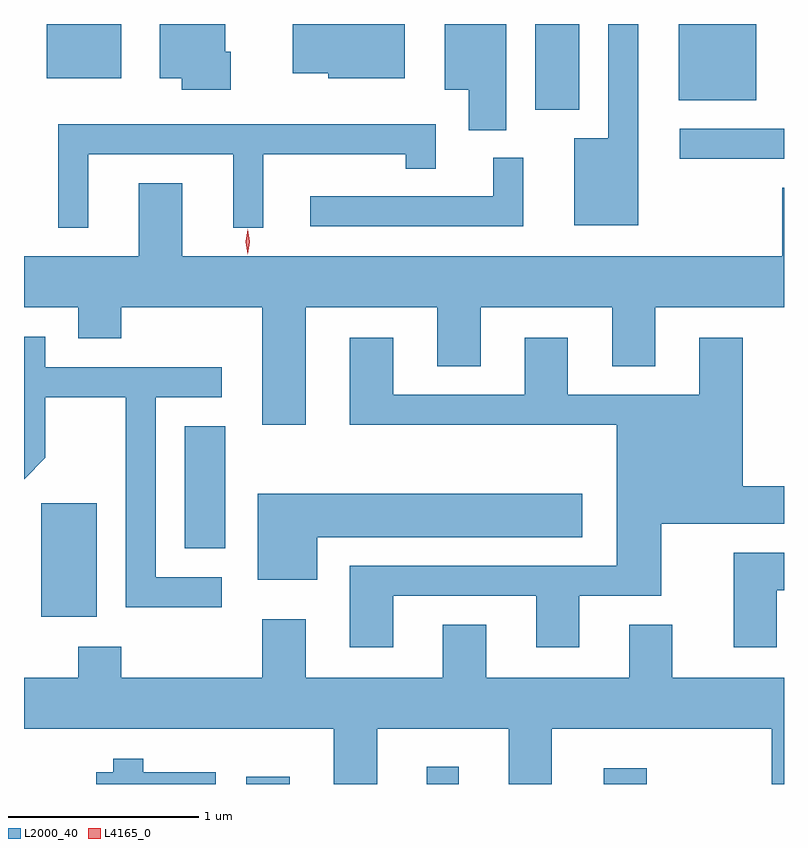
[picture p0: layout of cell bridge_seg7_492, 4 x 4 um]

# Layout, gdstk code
import gdstk
lib = gdstk.Library(unit=1e-6, precision=1e-09)
def R(c, l, rs):  # rectangles x0, y0, x1, y1
    for r in rs: c.add(gdstk.rectangle(r[:2], r[2:], *l))
def P(c, l, *ps):  # polygons
    for p in ps: c.add(gdstk.Polygon(p, *l))
L2000_40 = (2000, 40)
L4165_0 = (4165, 0)

bridge_seg7_492 = lib.new_cell('bridge_seg7_492')
R(bridge_seg7_492, L2000_40, [(1317.096,1720.686,1317.324,1720.724), (1318.046,1720.686,1318.214,1720.778), (1318.976,1720.686,1319.204,1720.769), (1316.016,1721.566,1316.309,1722.164), (1316.771,1721.926,1316.984,1722.569), (1319.378,1723.976,1319.926,1724.134), (1318.616,1724.236,1318.849,1724.686), (1319.371,1724.286,1319.779,1724.686), (1316.046,1724.401,1316.439,1724.686)])
P(bridge_seg7_492, L2000_40, [(1319.159,1724.686),(1319.001,1724.686),(1319.001,1724.084),(1318.821,1724.084),(1318.821,1723.626),(1319.159,1723.626)],
  [(1318.464,1724.686),(1318.141,1724.686),(1318.141,1724.341),(1318.266,1724.341),(1318.266,1724.126),(1318.464,1724.126)],
  [(1317.014,1724.539),(1316.984,1724.539),(1316.984,1724.686),(1316.641,1724.686),(1316.641,1724.401),(1316.756,1724.401),(1316.756,1724.341),(1317.014,1724.341)],
  [(1317.929,1724.686),(1317.526,1724.686),(1317.526,1724.684),(1317.341,1724.684),(1317.341,1724.426),(1317.526,1724.426),(1317.526,1724.401),(1317.929,1724.401)],
  [(1316.264,1724.001),(1317.026,1724.001),(1317.026,1723.613),(1317.184,1723.613),(1317.184,1724.001),(1317.936,1724.001),(1317.936,1723.923),(1318.094,1723.923),(1318.094,1724.159),(1316.106,1724.159),(1316.106,1723.613),(1316.264,1723.613)],
  [(1318.554,1723.983),(1318.396,1723.983),(1318.396,1723.779),(1317.433,1723.779),(1317.433,1723.621),(1318.554,1723.621)],
  [(1317.409,1723.196),(1318.101,1723.196),(1318.101,1722.886),(1318.329,1722.886),(1318.329,1723.196),(1319.021,1723.196),(1319.021,1722.886),(1319.249,1722.886),(1319.249,1723.196),(1319.926,1723.196),(1319.926,1723.824),(1319.916,1723.824),(1319.916,1723.464),(1316.759,1723.464),(1316.759,1723.849),(1316.531,1723.849),(1316.531,1723.464),(1315.926,1723.464),(1315.926,1723.196),(1316.211,1723.196),(1316.211,1723.031),(1316.439,1723.031),(1316.439,1723.196),(1317.181,1723.196),(1317.181,1722.576),(1317.409,1722.576)],
  [(1316.968,1721.774),(1316.619,1721.774),(1316.619,1722.721),(1316.968,1722.721),(1316.968,1722.879),(1316.039,1722.879),(1316.039,1723.039),(1315.926,1723.039),(1315.926,1722.291),(1316.039,1722.404),(1316.039,1722.721),(1316.461,1722.721),(1316.461,1721.616),(1316.968,1721.616)],
  [(1317.869,1721.676),(1318.621,1721.676),(1318.621,1721.406),(1318.849,1721.406),(1318.849,1721.676),(1319.279,1721.676),(1319.279,1722.056),(1319.926,1722.056),(1319.926,1722.254),(1319.709,1722.254),(1319.709,1723.034),(1319.481,1723.034),(1319.481,1722.734),(1318.789,1722.734),(1318.789,1723.034),(1318.561,1723.034),(1318.561,1722.734),(1317.869,1722.734),(1317.869,1723.034),(1317.641,1723.034),(1317.641,1722.576),(1319.046,1722.576),(1319.046,1721.834),(1317.641,1721.834),(1317.641,1721.406),(1317.869,1721.406)],
  [(1317.469,1721.986),(1318.864,1721.986),(1318.864,1722.214),(1317.156,1722.214),(1317.156,1721.761),(1317.469,1721.761)],
  [(1319.889,1721.706),(1319.926,1721.706),(1319.926,1721.904),(1319.661,1721.904),(1319.661,1721.406),(1319.889,1721.406)],
  [(1317.784,1720.976),(1318.476,1720.976),(1318.476,1720.686),(1318.704,1720.686),(1318.704,1720.976),(1319.861,1720.976),(1319.861,1720.686),(1319.926,1720.686),(1319.926,1721.244),(1319.339,1721.244),(1319.339,1721.524),(1319.111,1721.524),(1319.111,1721.244),(1318.359,1721.244),(1318.359,1721.524),(1318.131,1721.524),(1318.131,1721.244),(1317.409,1721.244),(1317.409,1721.554),(1317.181,1721.554),(1317.181,1721.244),(1316.439,1721.244),(1316.439,1721.409),(1316.211,1721.409),(1316.211,1721.244),(1315.926,1721.244),(1315.926,1720.976),(1317.556,1720.976),(1317.556,1720.686),(1317.784,1720.686)],
  [(1316.934,1720.749),(1316.554,1720.749),(1316.554,1720.819),(1316.396,1720.819),(1316.396,1720.749),(1316.306,1720.749),(1316.306,1720.686),(1316.934,1720.686)])
P(bridge_seg7_492, L4165_0, [(1317.103,1723.473),(1317.103,1723.474),(1317.093,1723.54),(1317.103,1723.606),(1317.103,1723.607),(1317.104,1723.606),(1317.113,1723.54),(1317.104,1723.474)])

lib.write_gds('bridge_seg7_492.gds')
